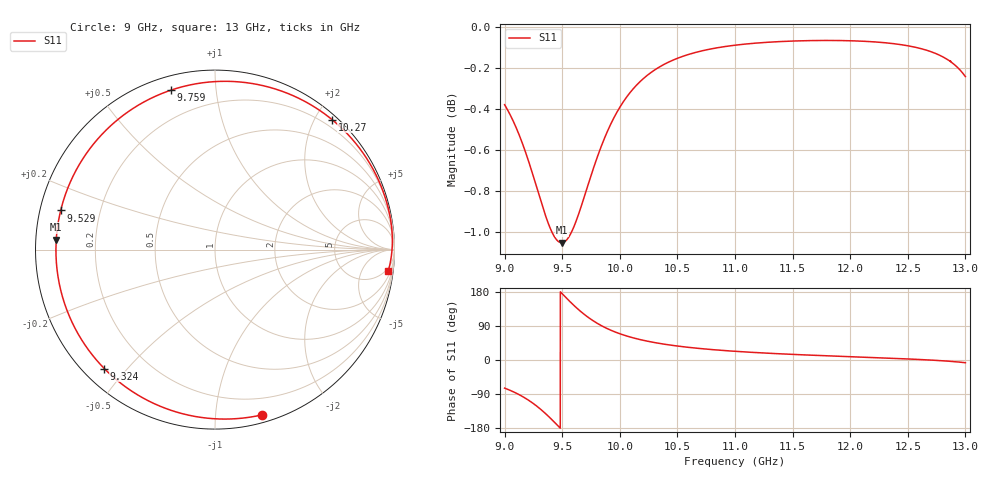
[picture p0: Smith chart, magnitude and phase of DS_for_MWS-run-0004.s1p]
! TOUCHSTONE file generated by CST DESIGN STUDIO
! Date and time: Tue Feb  4 13:34:35 2025
! Project name: C:\Work\MatlabApps\UnitCellOptimizationMatlab\CST\unitcell.cst
! Tree item: Tasks\Sweep1\SPara1\S-Parameters
! Header version: 2024
! Port assignment regex: !\s*Touchstone port\s*([0-9]+)\s*=\s*(CST MWS port|CST DES external port|CST DES block port)\s*(.+)\s* \(\"(.*)\"\)(\s*mode\s*([0-9]+))?.*
! Touchstone port assignment:
! Touchstone port 1 = CST DES external port 1 ("")
# GHz S MA R 50
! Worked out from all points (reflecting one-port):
!   4001 points, 9 GHz to 13 GHz, reference 50 ohm
!   lowest |S11| = -1.1 dB at 9.495 GHz (marker M1), VSWR 16.56, Z = 3.02 + j1.58 ohm
!   phase of S11 starts at -74 deg and turns -293 deg over the sweep
!   S11 on the Smith chart (normalised r, x): 9 GHz: 0.06, -1.32; 9.324 GHz: 0.06, -0.43; 9.529 GHz: 0.06, +0.12; 9.759 GHz: 0.06, +0.76; 10.27 GHz: 0.08, +2.24; 13 GHz: 3, -15
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9  0.9573 -74.2
9.084  0.9473 -85.0
9.186  0.9315 -101.9
9.258  0.918 -116.8
9.324  0.9053 -133.0
9.369  0.8974 -145.3
9.416  0.8908 -159.1
9.456  0.8873 -171.4
9.495  0.8861 176.4
9.5  0.8861 174.8
9.529  0.887 165.8
9.582  0.8916 149.7
9.645  0.9009 132.1
9.7  0.9108 118.4
9.759  0.9217 105.5
9.862  0.9388 87.2
9.93  0.9481 77.6
10  0.9559 69.3
10.123  0.9663 57.9
10.266  0.9745 48.0
10.5  0.9825 36.8
10.722  0.9867 29.5
11  0.9897 23.0
11.5  0.992 14.8
12  0.9922 8.7
12.5  0.9894 2.8
12.786  0.9839 -1.7
13  0.9725 -7.2
